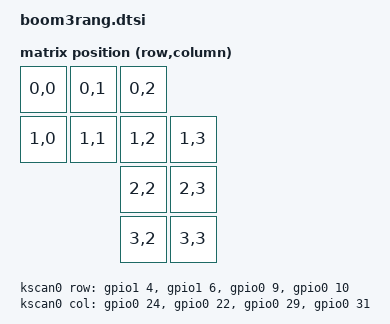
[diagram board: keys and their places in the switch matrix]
#include <dt-bindings/zmk/matrix_transform.h>

/ {
    chosen {
        zmk,kscan = &kscan0;
		zmk,matrix_transform = &default_transform;
    };
	
    default_transform: keymap_transform_0 {
        compatible = "zmk,matrix-transform";
        rows = <4>;
        columns = <4>;
        map = <
            RC(0,0) RC(0,1) RC(0,2) 
            RC(1,0) RC(1,1) RC(1,2) RC(1,3)
							RC(2,2) RC(2,3)
							RC(3,2) RC(3,3)
        >;
    };
	
    kscan0: kscan_0 {
        compatible = "zmk,kscan-gpio-matrix";
	wakeup-source;
        label = "KSCAN";
        diode-direction = "col2row";

        col-gpios = <&gpio0 24 GPIO_ACTIVE_HIGH>,
                    <&gpio0 22 GPIO_ACTIVE_HIGH>,
                    <&gpio0 29 GPIO_ACTIVE_HIGH>,
                    <&gpio0 31 GPIO_ACTIVE_HIGH>;

        row-gpios = <&gpio1  4 (GPIO_ACTIVE_HIGH | GPIO_PULL_DOWN)>,
                    <&gpio1  6 (GPIO_ACTIVE_HIGH | GPIO_PULL_DOWN)>,
                    <&gpio0  9 (GPIO_ACTIVE_HIGH | GPIO_PULL_DOWN)>,
                    <&gpio0 10 (GPIO_ACTIVE_HIGH | GPIO_PULL_DOWN)>;


    };
};
